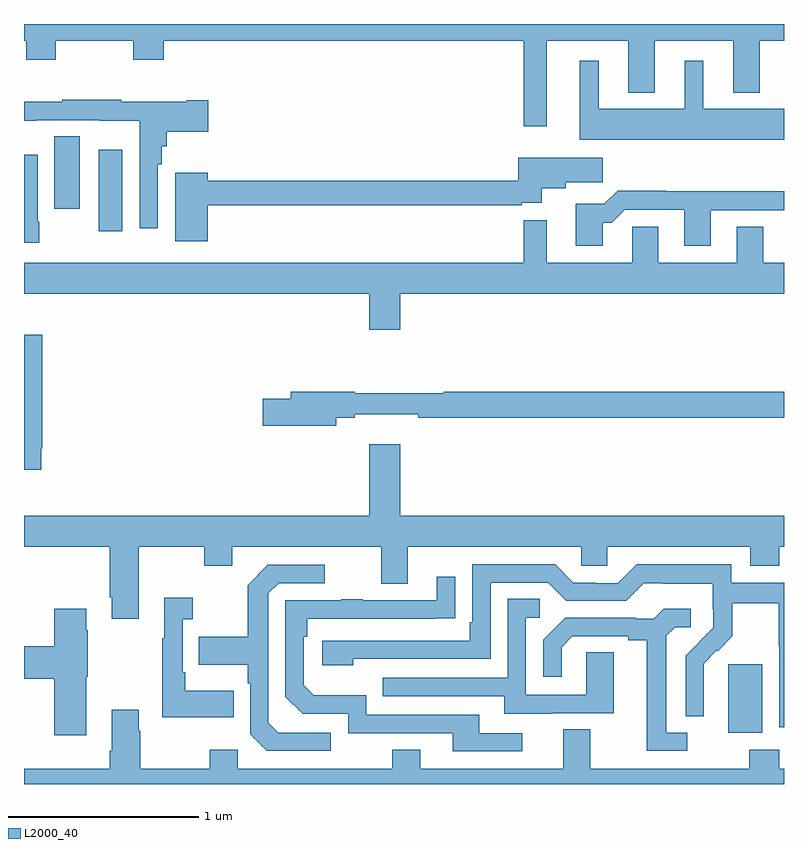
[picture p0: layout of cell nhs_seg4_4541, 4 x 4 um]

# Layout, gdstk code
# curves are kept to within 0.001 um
import gdstk
lib = gdstk.Library(unit=1e-6, precision=1e-09)
def R(c, l, rs):  # rectangles x0, y0, x1, y1
    for r in rs: c.add(gdstk.rectangle(r[:2], r[2:], *l))
def P(c, l, *ps):  # polygons
    for p in ps: c.add(gdstk.Polygon(p, *l))
L2000_40 = (2000, 40)

nhs_seg4_4541 = lib.new_cell('nhs_seg4_4541')
R(nhs_seg4_4541, L2000_40, [(358.706,801.17,358.885,801.531), (355.394,803.808,355.516,804.238), (355.16,803.928,355.294,804.308)])
P(nhs_seg4_4541, L2000_40, [(355,804.812),(355.012,804.812),(355.012,804.713),(355.167,804.713),(355.167,804.812),(355.576,804.812),(355.576,804.713),(355.736,804.713),(355.736,804.812),(357.63,804.812),(357.63,804.363),(357.751,804.363),(357.751,804.812),(358.181,804.812),(358.181,804.539),(358.321,804.539),(358.321,804.812),(358.733,804.812),(358.733,804.539),(358.873,804.539),(358.873,804.812),(359,804.812),(359,804.9),(355,804.9)],
  [(359,804.454),(358.576,804.454),(358.576,804.706),(358.478,804.706),(358.478,804.454),(358.024,804.454),(358.024,804.706),(357.926,804.706),(357.926,804.29),(359,804.29)],
  [(355.704,804.161),(355.724,804.161),(355.724,804.257),(355.751,804.257),(355.751,804.332),(355.969,804.332),(355.969,804.498),(355.856,804.498),(355.856,804.492),(355.511,804.492),(355.511,804.502),(355.201,804.502),(355.201,804.492),(355,804.492),(355,804.392),(355.064,804.392),(355.064,804.393),(355.398,804.393),(355.398,804.392),(355.608,804.392),(355.608,803.826),(355.704,803.826)],
  [(355.08,803.86),(355.072,803.86),(355.072,804.211),(355,804.211),(355,803.748),(355.08,803.748)],
  [(355.967,803.946),(357.62,803.946),(357.62,803.958),(357.724,803.958),(357.724,804.035),(357.85,804.035),(357.85,804.067),(358.045,804.067),(358.045,804.196),(357.602,804.196),(357.602,804.074),(355.967,804.074),(355.967,804.118),(355.796,804.118),(355.796,803.757),(355.967,803.757)],
  [(358.045,803.855),(358.094,803.855),(358.161,803.922),(358.475,803.922),(358.475,803.733),(358.615,803.733),(358.615,803.919),(359,803.919),(359,804.02),(358.379,804.02),(358.379,804.023),(358.124,804.023),(358.054,803.953),(357.905,803.953),(357.905,803.733),(358.045,803.733)],
  [(356.98,803.48),(359,803.48),(359,803.644),(358.891,803.644),(358.891,803.834),(358.751,803.834),(358.751,803.644),(358.339,803.644),(358.339,803.834),(358.2,803.834),(358.2,803.644),(357.751,803.644),(357.751,803.866),(357.63,803.866),(357.63,803.644),(355,803.644),(355,803.48),(356.816,803.48),(356.816,803.292),(356.98,803.292)],
  [(355.09,802.666),(355.097,802.666),(355.097,803.264),(355,803.264),(355,802.554),(355.09,802.554)],
  [(356.644,802.828),(356.74,802.828),(356.74,802.847),(357.076,802.847),(357.076,802.828),(359,802.828),(359,802.964),(357.209,802.964),(357.209,802.957),(356.74,802.957),(356.74,802.964),(356.405,802.964),(356.405,802.928),(356.256,802.928),(356.256,802.786),(356.644,802.786)],
  [(355.603,802.148),(355.948,802.148),(355.948,802.049),(356.095,802.049),(356.095,802.148),(356.879,802.148),(356.879,801.954),(357.019,801.954),(357.019,802.148),(357.933,802.148),(357.933,802.05),(358.071,802.05),(358.071,802.148),(358.823,802.148),(358.823,802.049),(358.976,802.049),(358.976,802.148),(359,802.148),(359,802.312),(356.98,802.312),(356.98,802.687),(356.816,802.687),(356.816,802.312),(355,802.312),(355,802.148),(355.451,802.148),(355.451,801.883),(355.463,801.883),(355.463,801.771),(355.603,801.771)],
  [(359,801.96),(358.722,801.96),(358.722,802.057),(358.225,802.057),(358.125,801.957),(358.01,801.957),(358.01,801.96),(357.891,801.96),(357.795,802.056),(357.36,802.056),(357.36,801.751),(357.347,801.751),(357.347,801.654),(356.571,801.654),(356.571,801.524),(356.732,801.524),(356.732,801.558),(357.456,801.558),(357.456,801.96),(357.759,801.96),(357.855,801.864),(358.17,801.864),(358.263,801.957),(358.363,801.957),(358.363,801.953),(358.626,801.953),(358.626,801.819),(358.628,801.819),(358.628,801.722),(358.482,801.574),(358.482,801.256),(358.578,801.256),(358.577,801.533),(358.647,801.603),(358.65,801.6),(358.727,801.677),(358.727,801.852),(358.972,801.852),(358.972,801.628),(358.974,801.628),(358.974,801.199),(359,801.199)],
  [(356.614,801.171),(356.337,801.171),(356.286,801.222),(356.286,801.903),(356.34,801.957),(356.584,801.957),(356.584,802.053),(356.283,802.053),(356.178,801.947),(356.178,801.675),(355.921,801.675),(355.921,801.527),(356.178,801.527),(356.178,801.431),(356.19,801.431),(356.19,801.162),(356.277,801.075),(356.614,801.075)],
  [(357.622,801.168),(357.397,801.168),(357.397,801.264),(356.802,801.264),(356.802,801.367),(356.525,801.367),(356.472,801.42),(356.472,801.674),(356.492,801.674),(356.492,801.771),(357.269,801.772),(357.269,801.991),(357.173,801.991),(357.173,801.867),(356.783,801.867),(356.783,801.872),(356.671,801.872),(356.671,801.867),(356.376,801.867),(356.376,801.36),(356.466,801.27),(356.706,801.27),(356.706,801.168),(357.257,801.168),(357.257,801.072),(357.622,801.072)],
  [(356.105,801.391),(355.849,801.391),(355.849,801.487),(355.836,801.487),(355.836,801.767),(355.888,801.767),(355.888,801.88),(355.739,801.88),(355.739,801.667),(355.728,801.667),(355.728,801.251),(356.105,801.251)],
  [(357.781,801.273),(358.105,801.273),(358.105,801.593),(357.96,801.593),(357.96,801.369),(357.642,801.369),(357.642,801.774),(357.715,801.774),(357.715,801.875),(357.546,801.875),(357.546,801.459),(356.887,801.459),(356.887,801.363),(357.527,801.363),(357.527,801.269),(357.781,801.269)],
  [(355.327,801.465),(355.335,801.465),(355.335,801.71),(355.327,801.71),(355.327,801.823),(355.16,801.823),(355.16,801.626),(355,801.626),(355,801.454),(355.16,801.454),(355.16,801.156),(355.327,801.156)],
  [(358.492,801.171),(358.381,801.171),(358.381,801.679),(358.428,801.726),(358.51,801.726),(358.51,801.823),(358.366,801.823),(358.314,801.771),(358.22,801.771),(358.22,801.774),(357.848,801.774),(357.732,801.658),(357.732,801.465),(357.829,801.465),(357.829,801.621),(357.886,801.678),(358.181,801.678),(358.181,801.656),(358.277,801.656),(358.277,801.075),(358.492,801.075)],
  [(359,800.98),(358.976,800.98),(358.976,801.079),(358.816,801.079),(358.816,800.98),(357.979,800.98),(357.979,801.188),(357.839,801.188),(357.839,800.98),(357.085,800.98),(357.085,801.079),(356.938,801.079),(356.938,800.98),(356.124,800.98),(356.124,801.079),(355.978,801.079),(355.978,800.98),(355.611,800.98),(355.611,801.179),(355.603,801.179),(355.603,801.292),(355.463,801.292),(355.463,801.076),(355.451,801.076),(355.451,800.98),(355,800.98),(355,800.9),(359,800.9)])

lib.write_gds('nhs_seg4_4541.gds')
